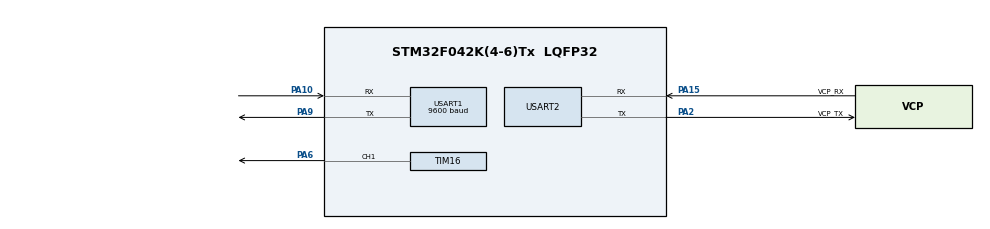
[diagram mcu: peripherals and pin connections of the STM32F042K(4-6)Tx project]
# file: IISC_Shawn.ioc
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Dma.MEMTOMEM.0.Direction=DMA_MEMORY_TO_MEMORY
Dma.MEMTOMEM.0.Instance=DMA1_Channel1
Dma.MEMTOMEM.0.MemDataAlignment=DMA_MDATAALIGN_BYTE
Dma.MEMTOMEM.0.MemInc=DMA_MINC_ENABLE
Dma.MEMTOMEM.0.Mode=DMA_NORMAL
Dma.MEMTOMEM.0.PeriphDataAlignment=DMA_PDATAALIGN_BYTE
Dma.MEMTOMEM.0.PeriphInc=DMA_PINC_ENABLE
Dma.MEMTOMEM.0.Priority=DMA_PRIORITY_HIGH
Dma.Request0=MEMTOMEM
Mcu.Family=STM32F0
Mcu.Name=STM32F042K(4-6)Tx
Mcu.Package=LQFP32
NVIC.DMA1_Channel1_IRQn=true\:0\:0\:false\:false\:true\:true\:true
NVIC.TIM14_IRQn=true\:1\:0\:true\:false\:true\:true\:true
NVIC.TIM16_IRQn=true\:1\:0\:true\:false\:true\:true\:true
NVIC.USART1_IRQn=true\:0\:0\:false\:false\:true\:true\:true
PA10.Mode=Asynchronous
PA10.Signal=USART1_RX
PA13.GPIO_Label=SWDIO
PA13.Mode=Serial_Wire
PA13.Signal=SYS_SWDIO
PA14.GPIO_Label=SWCLK
PA14.Mode=Serial_Wire
PA14.Signal=SYS_SWCLK
PA15.GPIO_Label=VCP_RX
PA15.Mode=Asynchronous
PA15.Signal=USART2_RX
PA2.GPIO_Label=VCP_TX
PA2.Mode=Asynchronous
PA2.Signal=USART2_TX
PA6.Signal=S_TIM16_CH1
PA9.Mode=Asynchronous
PA9.Signal=USART1_TX
PF0-OSC_IN.GPIO_Label=MCO
PF0-OSC_IN.Mode=HSE-External-Clock-Source
PF0-OSC_IN.Signal=RCC_OSC_IN
ProjectManager.HeapSize=0x200
ProjectManager.StackSize=0x400
ProjectManager.TargetToolchain=TrueSTUDIO
SH.S_TIM16_CH1.0=TIM16_CH1,PWM Generation1 CH1
TIM14.AutoReloadPreload=TIM_AUTORELOAD_PRELOAD_ENABLE
TIM14.Channel=TIM_CHANNEL_1
TIM14.ClockDivision=TIM_CLOCKDIVISION_DIV1
TIM14.OC1Preload=ENABLE
TIM14.Period=9999
TIM14.Prescaler=7999
TIM14.Pulse=0
TIM16.AutoReloadPreload=TIM_AUTORELOAD_PRELOAD_ENABLE
TIM16.Channel=TIM_CHANNEL_1
TIM16.ClockDivision=TIM_CLOCKDIVISION_DIV4
TIM16.Period=19999
TIM16.Prescaler=10
TIM16.Pulse=1000
USART1.AutoBaudRateEnableParam=UART_ADVFEATURE_AUTOBAUDRATE_DISABLE
USART1.BaudRate=9600
USART1.VirtualMode-Asynchronous=VM_ASYNC
USART2.VirtualMode-Asynchronous=VM_ASYNC
VP_TIM14_VS_ClockSourceINT.Mode=Enable_Timer
VP_TIM14_VS_no_output1.Mode=Output Compare1 No Output
VP_TIM16_VS_ClockSourceINT.Mode=Enable_Timer
board=NUCLEO-F042K6

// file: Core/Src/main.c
/* USER CODE BEGIN Header */
/**
  ******************************************************************************
  * @file           : main.c
  * @brief          : Main program body
  * @author			: Shawn Nagar
  ******************************************************************************
  * @attention
  *
  * <h2><center>&copy; Copyright (c) 2021 STMicroelectronics.
  * All rights reserved.</center></h2>
  *
  * This software component is licensed by ST under BSD 3-Clause license,
  * the "License"; You may not use this file except in compliance with the
  * License. You may obtain a copy of the License at:
  *                        opensource.org/licenses/BSD-3-Clause
  *
  ******************************************************************************
  */
/* USER CODE END Header */
#include "main.h"

/* USER CODE BEGIN Includes */
#include "blink.h"
/* USER CODE END Includes */

TIM_HandleTypeDef htim14;
TIM_HandleTypeDef htim16;

UART_HandleTypeDef huart1;
UART_HandleTypeDef huart2;

DMA_HandleTypeDef hdma_memtomem_dma1_channel1;
/* USER CODE BEGIN PV */

//Declare ring buffer struct
RING_BUFFER serial_buffer;				//Struct containing indexes and buffer

//Declare char array to store response to pc
char msg[MSG_SIZE];

//Operation complete flag to track when operation of instruction is complete
bool operation_complete_flag = true;

/* USER CODE END PV */

void SystemClock_Config(void);
static void MX_GPIO_Init(void);
static void MX_DMA_Init(void);
static void MX_USART1_UART_Init(void);
static void MX_USART2_UART_Init(void);
static void MX_TIM14_Init(void);
static void MX_TIM16_Init(void);

int main(void)
{

  /* MCU Configuration--------------------------------------------------------*/

  /* Reset of all peripherals, Initializes the Flash interface and the Systick. */
  HAL_Init();

  /* Configure the system clock */
  SystemClock_Config();

  /* Initialize all configured peripherals */
  MX_GPIO_Init();
  MX_DMA_Init();
  MX_USART1_UART_Init();
  MX_USART2_UART_Init();
  MX_TIM14_Init();
  MX_TIM16_Init();
  /* USER CODE BEGIN 2 */

  //Initialise serial port
  serial_port_init(&serial_buffer, &huart1, &hdma_memtomem_dma1_channel1);

  //Register timer elapsed callback
  register_timer_complete_callback(timer_elapsed_cb);

  /* USER CODE END 2 */

  /* Infinite loop */
  while (1)
  {

    /* USER CODE BEGIN 3 */

	//Checks for data to be available on buffer, else system is idle
	if(serial_buffer.num_pending == 0){
		continue;
	}

		//Check if timer14 is disabled by checking the CEN bit of CR1 register.
		//If enabled, it means the timers are implementing instructions from the pc (blinking).
		//If disabled, it means the led is not blinking and all timers are disabled.
		//Required for initial bootup when timers are disabled as well as if there was
		//a considerable delay of more than 10s between the first and second instruction as
		//system is designed to go back to idle once an instruction is complete and nothing is pending.
		if((*(&htim14.Instance->CR1)&(0x01)) == false){

			//Load pwm, calculate multiples and send response
			begin_new_operation();

			//Start timers
			enable_timers();

			//check if previous operation has completed
		}else if(operation_complete_flag == true){

			//If yes, Update buffer indexes
			conclude_current_operation();

			//Check if another data instruction is waiting in queue
			if(serial_buffer.num_pending == 0){

				//Disabled timers if nothing pending
				disable_timers();

			}else{

				//Load pwm, calculate multiples and send response based on next
				//pending instruction in serial buffer
				begin_new_operation();

			}

	}

  }
  /* USER CODE END 3 */
}

void SystemClock_Config(void)
{
  RCC_OscInitTypeDef RCC_OscInitStruct = {0};
  RCC_ClkInitTypeDef RCC_ClkInitStruct = {0};
  RCC_PeriphCLKInitTypeDef PeriphClkInit = {0};

  /** Initializes the RCC Oscillators according to the specified parameters
  * in the RCC_OscInitTypeDef structure.
  */
  RCC_OscInitStruct.OscillatorType = RCC_OSCILLATORTYPE_HSI;
  RCC_OscInitStruct.HSIState = RCC_HSI_ON;
  RCC_OscInitStruct.HSICalibrationValue = RCC_HSICALIBRATION_DEFAULT;
  RCC_OscInitStruct.PLL.PLLState = RCC_PLL_NONE;
  if (HAL_RCC_OscConfig(&RCC_OscInitStruct) != HAL_OK)
  {
    Error_Handler();
  }
  /** Initializes the CPU, AHB and APB buses clocks
  */
  RCC_ClkInitStruct.ClockType = RCC_CLOCKTYPE_HCLK|RCC_CLOCKTYPE_SYSCLK
                              |RCC_CLOCKTYPE_PCLK1;
  RCC_ClkInitStruct.SYSCLKSource = RCC_SYSCLKSOURCE_HSI;
  RCC_ClkInitStruct.AHBCLKDivider = RCC_SYSCLK_DIV1;
  RCC_ClkInitStruct.APB1CLKDivider = RCC_HCLK_DIV1;

  if (HAL_RCC_ClockConfig(&RCC_ClkInitStruct, FLASH_LATENCY_0) != HAL_OK)
  {
    Error_Handler();
  }
  PeriphClkInit.PeriphClockSelection = RCC_PERIPHCLK_USART1;
  PeriphClkInit.Usart1ClockSelection = RCC_USART1CLKSOURCE_PCLK1;
  if (HAL_RCCEx_PeriphCLKConfig(&PeriphClkInit) != HAL_OK)
  {
    Error_Handler();
  }
}

static void MX_TIM14_Init(void)
{

  TIM_OC_InitTypeDef sConfigOC = {0};

  htim14.Instance = TIM14;
  htim14.Init.Prescaler = 7999;
  htim14.Init.CounterMode = TIM_COUNTERMODE_UP;
  htim14.Init.Period = 9999;
  htim14.Init.ClockDivision = TIM_CLOCKDIVISION_DIV1;
  htim14.Init.AutoReloadPreload = TIM_AUTORELOAD_PRELOAD_ENABLE;
  if (HAL_TIM_Base_Init(&htim14) != HAL_OK)
  {
    Error_Handler();
  }
  if (HAL_TIM_OC_Init(&htim14) != HAL_OK)
  {
    Error_Handler();
  }
  sConfigOC.OCMode = TIM_OCMODE_TIMING;
  sConfigOC.Pulse = 0;
  sConfigOC.OCPolarity = TIM_OCPOLARITY_HIGH;
  sConfigOC.OCFastMode = TIM_OCFAST_DISABLE;
  if (HAL_TIM_OC_ConfigChannel(&htim14, &sConfigOC, TIM_CHANNEL_1) != HAL_OK)
  {
    Error_Handler();
  }
  __HAL_TIM_ENABLE_OCxPRELOAD(&htim14, TIM_CHANNEL_1);

}

static void MX_TIM16_Init(void)
{

  TIM_OC_InitTypeDef sConfigOC = {0};
  TIM_BreakDeadTimeConfigTypeDef sBreakDeadTimeConfig = {0};

  htim16.Instance = TIM16;
  htim16.Init.Prescaler = 10;
  htim16.Init.CounterMode = TIM_COUNTERMODE_UP;
  htim16.Init.Period = 19999;
  htim16.Init.ClockDivision = TIM_CLOCKDIVISION_DIV4;
  htim16.Init.RepetitionCounter = 0;
  htim16.Init.AutoReloadPreload = TIM_AUTORELOAD_PRELOAD_ENABLE;
  if (HAL_TIM_Base_Init(&htim16) != HAL_OK)
  {
    Error_Handler();
  }
  if (HAL_TIM_PWM_Init(&htim16) != HAL_OK)
  {
    Error_Handler();
  }
  sConfigOC.OCMode = TIM_OCMODE_PWM1;
  sConfigOC.Pulse = 1000;
  sConfigOC.OCPolarity = TIM_OCPOLARITY_HIGH;
  sConfigOC.OCNPolarity = TIM_OCNPOLARITY_HIGH;
  sConfigOC.OCFastMode = TIM_OCFAST_DISABLE;
  sConfigOC.OCIdleState = TIM_OCIDLESTATE_RESET;
  sConfigOC.OCNIdleState = TIM_OCNIDLESTATE_RESET;
  if (HAL_TIM_PWM_ConfigChannel(&htim16, &sConfigOC, TIM_CHANNEL_1) != HAL_OK)
  {
    Error_Handler();
  }
  sBreakDeadTimeConfig.OffStateRunMode = TIM_OSSR_DISABLE;
  sBreakDeadTimeConfig.OffStateIDLEMode = TIM_OSSI_DISABLE;
  sBreakDeadTimeConfig.LockLevel = TIM_LOCKLEVEL_OFF;
  sBreakDeadTimeConfig.DeadTime = 0;
  sBreakDeadTimeConfig.BreakState = TIM_BREAK_DISABLE;
  sBreakDeadTimeConfig.BreakPolarity = TIM_BREAKPOLARITY_HIGH;
  sBreakDeadTimeConfig.AutomaticOutput = TIM_AUTOMATICOUTPUT_DISABLE;
  if (HAL_TIMEx_ConfigBreakDeadTime(&htim16, &sBreakDeadTimeConfig) != HAL_OK)
  {
    Error_Handler();
  }
  HAL_TIM_MspPostInit(&htim16);

}

static void MX_USART1_UART_Init(void)
{

  huart1.Instance = USART1;
  huart1.Init.BaudRate = 9600;
  huart1.Init.WordLength = UART_WORDLENGTH_8B;
  huart1.Init.StopBits = UART_STOPBITS_1;
  huart1.Init.Parity = UART_PARITY_NONE;
  huart1.Init.Mode = UART_MODE_TX_RX;
  huart1.Init.HwFlowCtl = UART_HWCONTROL_NONE;
  huart1.Init.OverSampling = UART_OVERSAMPLING_16;
  huart1.Init.OneBitSampling = UART_ONE_BIT_SAMPLE_DISABLE;
  huart1.AdvancedInit.AdvFeatureInit = UART_ADVFEATURE_NO_INIT;
  if (HAL_UART_Init(&huart1) != HAL_OK)
  {
    Error_Handler();
  }

}

static void MX_USART2_UART_Init(void)
{

  huart2.Instance = USART2;
  huart2.Init.BaudRate = 38400;
  huart2.Init.WordLength = UART_WORDLENGTH_8B;
  huart2.Init.StopBits = UART_STOPBITS_1;
  huart2.Init.Parity = UART_PARITY_NONE;
  huart2.Init.Mode = UART_MODE_TX_RX;
  huart2.Init.HwFlowCtl = UART_HWCONTROL_NONE;
  huart2.Init.OverSampling = UART_OVERSAMPLING_16;
  huart2.Init.OneBitSampling = UART_ONE_BIT_SAMPLE_DISABLE;
  huart2.AdvancedInit.AdvFeatureInit = UART_ADVFEATURE_NO_INIT;
  if (HAL_UART_Init(&huart2) != HAL_OK)
  {
    Error_Handler();
  }

}

static void MX_DMA_Init(void)
{

  /* DMA controller clock enable */
  __HAL_RCC_DMA1_CLK_ENABLE();

  /* Configure DMA request hdma_memtomem_dma1_channel1 on DMA1_Channel1 */
  hdma_memtomem_dma1_channel1.Instance = DMA1_Channel1;
  hdma_memtomem_dma1_channel1.Init.Direction = DMA_MEMORY_TO_MEMORY;
  hdma_memtomem_dma1_channel1.Init.PeriphInc = DMA_PINC_ENABLE;
  hdma_memtomem_dma1_channel1.Init.MemInc = DMA_MINC_ENABLE;
  hdma_memtomem_dma1_channel1.Init.PeriphDataAlignment = DMA_PDATAALIGN_BYTE;
  hdma_memtomem_dma1_channel1.Init.MemDataAlignment = DMA_MDATAALIGN_BYTE;
  hdma_memtomem_dma1_channel1.Init.Mode = DMA_NORMAL;
  hdma_memtomem_dma1_channel1.Init.Priority = DMA_PRIORITY_HIGH;
  if (HAL_DMA_Init(&hdma_memtomem_dma1_channel1) != HAL_OK)
  {
    Error_Handler( );
  }

  /* DMA interrupt init */
  /* DMA1_Channel1_IRQn interrupt configuration */
  HAL_NVIC_SetPriority(DMA1_Channel1_IRQn, 0, 0);
  HAL_NVIC_EnableIRQ(DMA1_Channel1_IRQn);

}

static void MX_GPIO_Init(void)
{
  GPIO_InitTypeDef GPIO_InitStruct = {0};

  /* GPIO Ports Clock Enable */
  __HAL_RCC_GPIOF_CLK_ENABLE();
  __HAL_RCC_GPIOA_CLK_ENABLE();
  __HAL_RCC_GPIOB_CLK_ENABLE();

  /*Configure GPIO pin : PF1 */
  GPIO_InitStruct.Pin = GPIO_PIN_1;
  GPIO_InitStruct.Mode = GPIO_MODE_ANALOG;
  GPIO_InitStruct.Pull = GPIO_NOPULL;
  HAL_GPIO_Init(GPIOF, &GPIO_InitStruct);

  /*Configure GPIO pins : PA0 PA1 PA3 PA4
                           PA5 PA7 PA8 PA11
                           PA12 */
  GPIO_InitStruct.Pin = GPIO_PIN_0|GPIO_PIN_1|GPIO_PIN_3|GPIO_PIN_4
                          |GPIO_PIN_5|GPIO_PIN_7|GPIO_PIN_8|GPIO_PIN_11
                          |GPIO_PIN_12;
  GPIO_InitStruct.Mode = GPIO_MODE_ANALOG;
  GPIO_InitStruct.Pull = GPIO_NOPULL;
  HAL_GPIO_Init(GPIOA, &GPIO_InitStruct);

  /*Configure GPIO pins : PB0 PB1 PB3 PB4
                           PB5 PB6 PB7 PB8 */
  GPIO_InitStruct.Pin = GPIO_PIN_0|GPIO_PIN_1|GPIO_PIN_3|GPIO_PIN_4
                          |GPIO_PIN_5|GPIO_PIN_6|GPIO_PIN_7|GPIO_PIN_8;
  GPIO_InitStruct.Mode = GPIO_MODE_ANALOG;
  GPIO_InitStruct.Pull = GPIO_NOPULL;
  HAL_GPIO_Init(GPIOB, &GPIO_InitStruct);

}

void Error_Handler(void)
{
}

/************************ (C) COPYRIGHT STMicroelectronics *****END OF FILE****/
